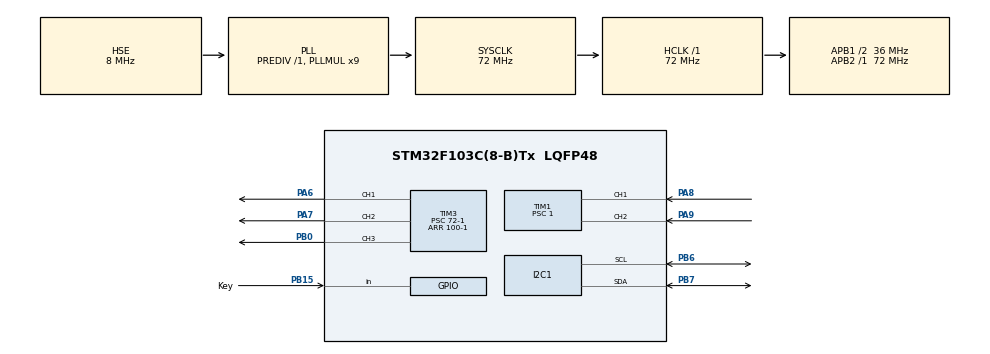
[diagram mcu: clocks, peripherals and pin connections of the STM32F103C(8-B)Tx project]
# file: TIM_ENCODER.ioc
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Mcu.Family=STM32F1
Mcu.Name=STM32F103C(8-B)Tx
Mcu.Package=LQFP48
NVIC.PriorityGroup=NVIC_PRIORITYGROUP_4
PA13.Mode=Serial_Wire
PA13.Signal=SYS_JTMS-SWDIO
PA14.Mode=Serial_Wire
PA14.Signal=SYS_JTCK-SWCLK
PA6.Signal=S_TIM3_CH1
PA7.Signal=S_TIM3_CH2
PA8.Signal=S_TIM1_CH1
PA9.Signal=S_TIM1_CH2
PB0.Signal=S_TIM3_CH3
PB15.GPIO_Label=Key
PB15.GPIO_PuPd=GPIO_PULLUP
PB15.Signal=GPIO_Input
PB6.Mode=I2C
PB6.Signal=I2C1_SCL
PB7.Mode=I2C
PB7.Signal=I2C1_SDA
PD0-OSC_IN.Mode=HSE-External-Oscillator
PD0-OSC_IN.Signal=RCC_OSC_IN
PD1-OSC_OUT.Mode=HSE-External-Oscillator
PD1-OSC_OUT.Signal=RCC_OSC_OUT
ProjectManager.HeapSize=0x200
ProjectManager.StackSize=0x400
ProjectManager.TargetToolchain=CMake
RCC.AHBFreq_Value=72000000
RCC.APB1CLKDivider=RCC_HCLK_DIV2
RCC.APB1Freq_Value=36000000
RCC.APB1TimFreq_Value=72000000
RCC.APB2Freq_Value=72000000
RCC.APB2TimFreq_Value=72000000
RCC.HCLKFreq_Value=72000000
RCC.PLLMUL=RCC_PLL_MUL9
RCC.PLLSourceVirtual=RCC_PLLSOURCE_HSE
RCC.SYSCLKFreq_VALUE=72000000
RCC.SYSCLKSource=RCC_SYSCLKSOURCE_PLLCLK
RCC.USBFreq_Value=72000000
SH.S_TIM1_CH1.0=TIM1_CH1,Encoder_Interface
SH.S_TIM1_CH2.0=TIM1_CH2,Encoder_Interface
SH.S_TIM3_CH1.0=TIM3_CH1,PWM Generation1 CH1
SH.S_TIM3_CH2.0=TIM3_CH2,PWM Generation2 CH2
SH.S_TIM3_CH3.0=TIM3_CH3,PWM Generation3 CH3
TIM1.IC1Filter=15
TIM1.IC2Filter=15
TIM1.IC2Polarity=TIM_ICPOLARITY_FALLING
TIM1.Prescaler=1
TIM3.Channel-PWM\ Generation1\ CH1=TIM_CHANNEL_1
TIM3.Channel-PWM\ Generation2\ CH2=TIM_CHANNEL_2
TIM3.Channel-PWM\ Generation3\ CH3=TIM_CHANNEL_3
TIM3.Period=100-1
TIM3.Prescaler=72-1
VP_TIM3_VS_ClockSourceINT.Mode=Internal
board=custom

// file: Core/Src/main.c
/* USER CODE BEGIN Header */
/**
 ******************************************************************************
 * @file           : main.c
 * @brief          : Main program body
 ******************************************************************************
 * @attention
 *
 * Copyright (c) 2024 STMicroelectronics.
 * All rights reserved.
 *
 * This software is licensed under terms that can be found in the LICENSE file
 * in the root directory of this software component.
 * If no LICENSE file comes with this software, it is provided AS-IS.
 *
 ******************************************************************************
 */
/* USER CODE END Header */
#include "main.h"
#include "i2c.h"
#include "tim.h"
#include "gpio.h"

/* USER CODE BEGIN Includes */
#include "oled.h"
#include <stdio.h>
/* USER CODE END Includes */

void SystemClock_Config(void);

int main(void)
{

  /* MCU Configuration--------------------------------------------------------*/

  /* Reset of all peripherals, Initializes the Flash interface and the Systick. */
  HAL_Init();

  /* Configure the system clock */
  SystemClock_Config();

  /* Initialize all configured peripherals */
  MX_GPIO_Init();
  MX_TIM1_Init();
  MX_I2C1_Init();
  MX_TIM3_Init();
  /* USER CODE BEGIN 2 */
  HAL_Delay(20);
  OLED_Init();

  HAL_TIM_Encoder_Start(&htim1, TIM_CHANNEL_ALL);
  // HAL_TIM_PWM_Start(&htim3, TIM_CHANNEL_1);

  int count = 0;
  char message[20] = "";
  uint32_t channels[3] = {TIM_CHANNEL_1, TIM_CHANNEL_2, TIM_CHANNEL_3};
  int channel_index = 0;
  /* USER CODE END 2 */

  /* Infinite loop */
  /* USER CODE BEGIN WHILE */
  while (1)
  {
    OLED_NewFrame();
    count = __HAL_TIM_GET_COUNTER(&htim1);
    if (count > 6000)
    {
      __HAL_TIM_SET_COUNTER(&htim1, 0);
      continue;
    }
    else if (count > 100)
    {
      __HAL_TIM_SET_COUNTER(&htim1, 100);
      continue;
    }

    sprintf(message, "Count: %d", count);
    OLED_PrintString(13, 0, message, &font16x16, OLED_COLOR_NORMAL);
    OLED_DrawRectangle(13, 25, 101, 12, OLED_COLOR_NORMAL);
    OLED_DrawFilledRectangle(13, 25, count, 12, OLED_COLOR_NORMAL);

    if (HAL_GPIO_ReadPin(Key_GPIO_Port, Key_Pin) == 0)
    {
      HAL_Delay(10);
      if (HAL_GPIO_ReadPin(Key_GPIO_Port, Key_Pin) == 0)
      {
        HAL_TIM_PWM_Stop(&htim3, channels[channel_index]);
        channel_index = (channel_index + 1) % 3;
        HAL_TIM_PWM_Start(&htim3, channels[channel_index]);

        while(HAL_GPIO_ReadPin(Key_GPIO_Port, Key_Pin) == 0);
      }
    }
    __HAL_TIM_SET_COMPARE(&htim3, channels[channel_index], count);

    OLED_ShowFrame();
    /* USER CODE END WHILE */

  }
}

void SystemClock_Config(void)
{
  RCC_OscInitTypeDef RCC_OscInitStruct = {0};
  RCC_ClkInitTypeDef RCC_ClkInitStruct = {0};

  /** Initializes the RCC Oscillators according to the specified parameters
   * in the RCC_OscInitTypeDef structure.
   */
  RCC_OscInitStruct.OscillatorType = RCC_OSCILLATORTYPE_HSE;
  RCC_OscInitStruct.HSEState = RCC_HSE_ON;
  RCC_OscInitStruct.HSEPredivValue = RCC_HSE_PREDIV_DIV1;
  RCC_OscInitStruct.HSIState = RCC_HSI_ON;
  RCC_OscInitStruct.PLL.PLLState = RCC_PLL_ON;
  RCC_OscInitStruct.PLL.PLLSource = RCC_PLLSOURCE_HSE;
  RCC_OscInitStruct.PLL.PLLMUL = RCC_PLL_MUL9;
  if (HAL_RCC_OscConfig(&RCC_OscInitStruct) != HAL_OK)
  {
    Error_Handler();
  }

  /** Initializes the CPU, AHB and APB buses clocks
   */
  RCC_ClkInitStruct.ClockType = RCC_CLOCKTYPE_HCLK | RCC_CLOCKTYPE_SYSCLK | RCC_CLOCKTYPE_PCLK1 | RCC_CLOCKTYPE_PCLK2;
  RCC_ClkInitStruct.SYSCLKSource = RCC_SYSCLKSOURCE_PLLCLK;
  RCC_ClkInitStruct.AHBCLKDivider = RCC_SYSCLK_DIV1;
  RCC_ClkInitStruct.APB1CLKDivider = RCC_HCLK_DIV2;
  RCC_ClkInitStruct.APB2CLKDivider = RCC_HCLK_DIV1;

  if (HAL_RCC_ClockConfig(&RCC_ClkInitStruct, FLASH_LATENCY_2) != HAL_OK)
  {
    Error_Handler();
  }
}

void Error_Handler(void)
{
  __disable_irq();
  while (1)
  {
  }
}
